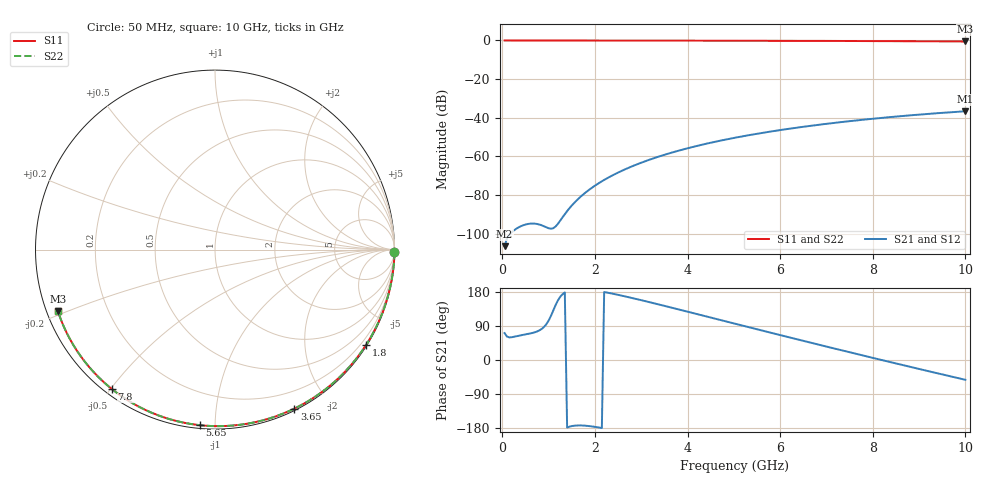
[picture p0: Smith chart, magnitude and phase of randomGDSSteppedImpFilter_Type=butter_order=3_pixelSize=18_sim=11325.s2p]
! freq	dB(S11)	phase(S11)	dB(S12)	phase(S12)
!  dB(S21)	phase(S21)	dB(S22)	phase(S22)
!S-par simulation data
#  GHz  S  DB  R 50
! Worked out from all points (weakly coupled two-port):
!   200 points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, 50 MHz to 10 GHz, reference 50 ohm
!   highest |S21| = -36.65 dB at 10 GHz (marker M1); lowest = -106.5 dB at 50 MHz (marker M2)
!   lowest |S11| = -0.5 dB at 10 GHz (marker M3), VSWR 32.45, Z = 1.6 - j9.46 ohm
!   |S11| at or under -10 dB: nowhere
!   |S22| runs from -0.5 to 0.0 dB; largest |S21 - S12| = 0
!   S11 on the Smith chart (normalised r, x): 50 MHz: open; 1.8 GHz: 0.03, -3.47; 3.65 GHz: 0.02, -1.62; 5.65 GHz: 0.02, -0.92; 7.8 GHz: 0.02, -0.50; 10 GHz: 0.03, -0.19
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0.05  -0.00 -0.9  -106.47 71.0  -106.47 71.0  -0.00 -0.9
0.45  -0.01 -8.2  -95.66 66.5  -95.66 66.5  -0.01 -8.2
0.9  -0.02 -16.2  -96.15 87.1  -96.15 87.1  -0.02 -16.3
1.7  -0.04 -30.4  -80.67 -172.7  -80.67 -172.7  -0.04 -30.4
1.75  -0.04 -31.3  -79.64 -173.0  -79.64 -173.0  -0.04 -31.3
1.8  -0.04 -32.2  -78.66 -173.4  -78.66 -173.4  -0.04 -32.2
2.1  -0.05 -37.4  -73.62 -178.4  -73.62 -178.4  -0.05 -37.4
2.3  -0.05 -40.8  -70.83 177.1  -70.83 177.1  -0.05 -40.8
2.5  -0.06 -44.3  -68.38 172.0  -68.38 172.0  -0.06 -44.3
2.9  -0.07 -51.1  -64.20 160.8  -64.20 160.8  -0.07 -51.1
3.4  -0.08 -59.4  -59.94 146.0  -59.94 146.0  -0.08 -59.4
3.65  -0.09 -63.5  -58.11 138.3  -58.11 138.3  -0.09 -63.5
4.3  -0.11 -74.0  -54.03 118.2  -54.03 118.2  -0.11 -74.0
5.05  -0.13 -85.7  -50.23 95.0  -50.23 95.0  -0.13 -85.8
5.65  -0.16 -94.9  -47.70 76.5  -47.70 76.5  -0.16 -94.9
6.15  -0.18 -102.4  -45.85 61.2  -45.85 61.2  -0.18 -102.4
6.7  -0.22 -110.5  -44.04 44.5  -44.04 44.5  -0.22 -110.5
7.25  -0.25 -118.5  -42.44 27.9  -42.44 27.9  -0.25 -118.6
7.8  -0.30 -126.5  -41.00 11.5  -41.00 11.5  -0.30 -126.5
8.35  -0.35 -134.4  -39.72 -4.7  -39.72 -4.7  -0.35 -134.4
9.2  -0.44 -146.7  -38.00 -29.4  -38.00 -29.4  -0.44 -146.8
10  -0.54 -158.5  -36.65 -52.3  -36.65 -52.3  -0.54 -158.6
